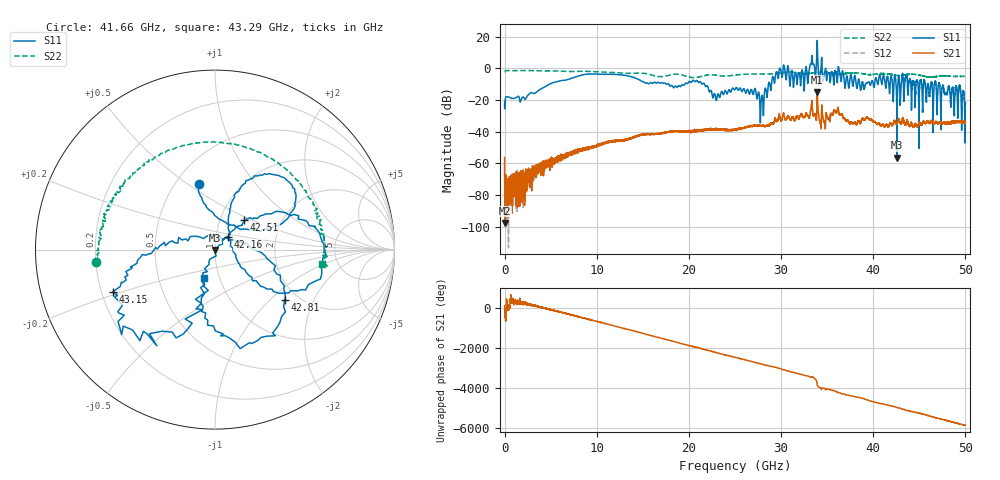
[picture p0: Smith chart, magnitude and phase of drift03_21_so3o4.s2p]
!Created with skrf (http://scikit-rf.org).
# Hz S RI R 50.0
!freq ReS11 ImS11 ReS21 ImS21 ReS12 ImS12 ReS22 ImS22
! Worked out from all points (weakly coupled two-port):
!   10001 points, 300 kHz to 50 GHz, reference 50 ohm
!   highest |S21| = -15.21 dB at 33.92 GHz (marker M1); lowest = -97.7 dB at 50.3 MHz (marker M2)
!   lowest |S11| = -56.4 dB at 42.58 GHz (marker M3), VSWR 1.00, Z = 50 - j0.144 ohm
!   |S11| at or under -10 dB: start of sweep to 4.849 GHz; 21.69 GHz to 28.62 GHz (6.933 GHz wide, 27.6 % of centre); 47.2 GHz to end of sweep (the widest 3 of 46)
!   |S22| runs from -5.9 to -1.3 dB; largest |S21 - S12| = 0.017
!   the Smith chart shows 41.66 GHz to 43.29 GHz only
!   S11 on the Smith chart (normalised r, x): 41.66 GHz: 0.65, +0.55; 42.16 GHz: 1.15, +0.17; 42.51 GHz: 1.30, +0.45; 42.81 GHz: 1.71, -1.23; 43.15 GHz: 0.25, -0.19; 43.29 GHz: 0.85, -0.28
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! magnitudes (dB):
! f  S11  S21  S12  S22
! 300 kHz  -21.4  -56.4  -60.5  -2.0
! 50.3 MHz  -20.6  -97.7  -75.6  -1.6
! 425.3 MHz  -18.2  -79.8  -72.6  -1.5
! 8.335 GHz  -4.3  -51.2  -50.9  -1.9
! 16.67 GHz  -8.8  -41.5  -41.3  -5.2
! 22.81 GHz  -16.1  -38.4  -38.4  -4.3
! 25 GHz  -13.4  -38.8  -38.8  -4.3
! 27.91 GHz  -17.2  -36.5  -36.2  -3.5
! 29.69 GHz  -6.4  -32.1  -31.7  -3.1
! 32.32 GHz  -1.5  -30.5  -30.7  -3.3
! 33.34 GHz  7.9  -20.6  -20.9  -2.9
! 33.92 GHz  17.6  -15.2  -15.5  -2.5
! 38.82 GHz  -8.6  -31.6  -31.9  -3.3
! 41.66 GHz  -8.5  -36.7  -36.8  -3.5
! 41.67 GHz  -9.0  -36.9  -36.5  -3.7
! 42.16 GHz  -19.7  -35.0  -35.4  -4.2
! 42.51 GHz  -12.8  -35.4  -35.0  -4.4
! 42.58 GHz  -56.4  -35.0  -34.9  -4.5
! 42.81 GHz  -6.4  -32.5  -32.6  -4.5
! 43.15 GHz  -4.2  -32.9  -32.8  -4.4
! 43.29 GHz  -15.5  -33.1  -33.1  -4.4
! 50 GHz  -21.8  -33.8  -34.1  -5.0
